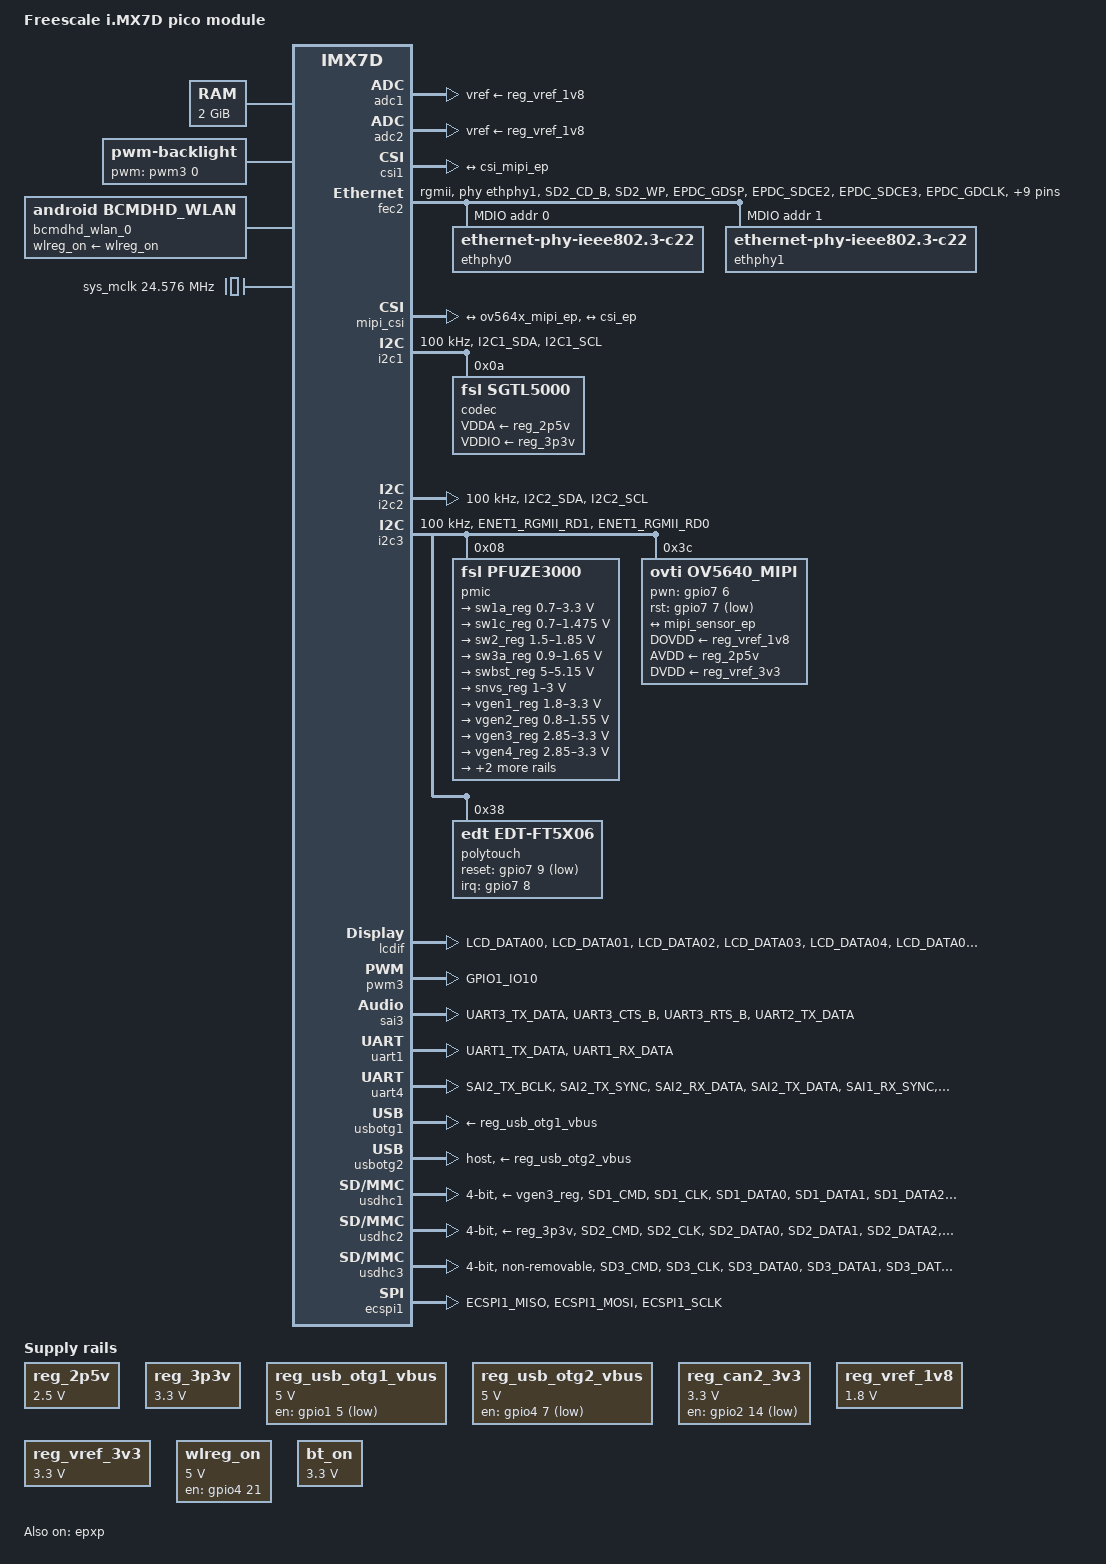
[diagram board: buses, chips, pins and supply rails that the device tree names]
/*
 * Copyright 2016 Technexion Ltd.
 *
 * Author: Wig Cheng  <wig.cheng@technexion.com>
 *     Richard Hu <richard.hu@technexion.com>
 *     Tapani Utriainen <tapani@technexion.com>
 *
 * This program is free software; you can redistribute it and/or modify
 * it under the terms of the GNU General Public License version 2 as
 * published by the Free Software Foundation.
 *
 */

/dts-v1/;

#include <dt-bindings/input/input.h>
#include "imx7d.dtsi"

/ {
	model = "Freescale i.MX7D pico module";
	compatible = "fsl,imx7d-sdb", "fsl,imx7d";

	memory {
		reg = <0x80000000 0x80000000>;
	};

	backlight {
		compatible = "pwm-backlight";
		pwms = <&pwm3 0 5000000>;
		brightness-levels = <0 4 8 16 32 64 128 255>;
		default-brightness-level = <6>;
		status = "okay";
	};

	bcmdhd_wlan_0: bcmdhd_wlan@0 {
		compatible = "android,bcmdhd_wlan";
		wlreg_on-supply = <&wlreg_on>;
	};

	pxp_v4l2_out {
		compatible = "fsl,imx7d-pxp-v4l2", "fsl,imx6sx-pxp-v4l2", "fsl,imx6sl-pxp-v4l2";
		status = "okay";
	};

	regulators {
		compatible = "simple-bus";
		#address-cells = <1>;
		#size-cells = <0>;

		reg_2p5v: 2p5v {
			compatible = "regulator-fixed";
			regulator-name = "2P5V";
			regulator-min-microvolt = <2500000>;
			regulator-max-microvolt = <2500000>;
			regulator-always-on;
		};

		reg_3p3v: 3p3v {
			compatible = "regulator-fixed";
			regulator-name = "3P3V";
			regulator-min-microvolt = <3300000>;
			regulator-max-microvolt = <3300000>;
			regulator-always-on;
		};

		reg_usb_otg1_vbus: regulator@0 {
			compatible = "regulator-fixed";
			reg = <0>;
			regulator-name = "usb_otg1_vbus";
			regulator-min-microvolt = <5000000>;
			regulator-max-microvolt = <5000000>;
			gpio = <&gpio1 5 GPIO_ACTIVE_HIGH>;
		};

		reg_usb_otg2_vbus: regulator@1 {
			compatible = "regulator-fixed";
			reg = <1>;
			regulator-name = "usb_otg2_vbus";
			regulator-min-microvolt = <5000000>;
			regulator-max-microvolt = <5000000>;
			gpio = <&gpio4 7 GPIO_ACTIVE_HIGH>;
		};

		reg_can2_3v3: regulator@4 {
			compatible = "regulator-fixed";
			reg = <4>;
			regulator-name = "can2-3v3";
			regulator-min-microvolt = <3300000>;
			regulator-max-microvolt = <3300000>;
			gpio = <&gpio2 14 GPIO_ACTIVE_LOW>;
		};

		reg_vref_1v8: regulator@5 {
			compatible = "regulator-fixed";
			reg = <5>;
			regulator-name = "vref-1v8";
			regulator-min-microvolt = <1800000>;
			regulator-max-microvolt = <1800000>;
		};

		reg_vref_3v3: regulator@6 {
			compatible = "regulator-fixed";
			regulator-name = "vref-3v3";
			regulator-min-microvolt = <3300000>;
			regulator-max-microvolt = <3300000>;
		};

		wlreg_on: fixedregulator@100 {
			compatible = "regulator-fixed";
			regulator-min-microvolt = <5000000>;
			regulator-max-microvolt = <5000000>;
			regulator-name = "wlreg_on";
			gpio = <&gpio4 21 GPIO_ACTIVE_HIGH>;
			enable-active-high;
		};

		bt_on: bt_on {
			compatible = "regulator-fixed";
			regulator-min-microvolt = <3300000>;
			regulator-max-microvolt = <3300000>;
			regulator-name = "bt_on";
			regulator-boot-on;
		};

	};

	clocks {
		sys_mclk: clock {
			compatible = "fixed-clock";
			#clock-cells = <0>;
			clock-frequency = <24576000>;
		};
	};

	sound {
		compatible = "fsl,pico-imx7-sgtl5000",
				"fsl,imx-audio-sgtl5000";
		model = "audio-sgtl5000";
		ssi-controller = <&sai3>;
		audio-codec = <&codec>;
		audio-routing =
			"LINE_IN", "Line In Jack",
			"MIC_IN", "Mic Jack",
			"Mic Jack", "Mic Bias",
			"Headphone Jack", "HP_OUT";
		mux-int-port = <3>;
		mux-ext-port = <3>;
		fsl,no-audmux;
	};
};

&adc1 {
	vref-supply = <&reg_vref_1v8>;
	status = "okay";
};

&adc2 {
	vref-supply = <&reg_vref_1v8>;
	status = "okay";
};

&clks {
	assigned-clocks = <&clks IMX7D_PLL_AUDIO_POST_DIV>;
	assigned-clock-rates = <884736000>;
};

&cpu0 {
	arm-supply = <&sw1a_reg>;
};

&clks {
	assigned-clocks = <&clks IMX7D_PLL_AUDIO_POST_DIV>;
	assigned-clock-rates = <884736000>;
};

&csi1 {
	csi-mux-mipi = <&gpr 0x14 4>;
	status = "okay";

	port {
		csi_ep: endpoint {
			remote-endpoint = <&csi_mipi_ep>;
		};
	};
};

&epxp {
	status = "okay";
};

&fec2 {
	pinctrl-names = "default";
	pinctrl-0 = <&pinctrl_enet2>;
	pinctrl-assert-gpios = <&gpio2 31 GPIO_ACTIVE_HIGH>;
	assigned-clocks = <&clks IMX7D_ENET2_TIME_ROOT_SRC>,
			  <&clks IMX7D_ENET2_TIME_ROOT_CLK>;
	assigned-clock-parents = <&clks IMX7D_PLL_ENET_MAIN_100M_CLK>;
	assigned-clock-rates = <0>, <1000000000>;
	phy-mode = "rgmii";
	phy-handle = <&ethphy1>;
	fsl,magic-packet;
	status = "okay";

	mdio {
		#address-cells = <1>;
		#size-cells = <0>;

		ethphy0: ethernet-phy@0 {
			compatible = "ethernet-phy-ieee802.3-c22";
			reg = <0>;
		};

		ethphy1: ethernet-phy@1 {
			compatible = "ethernet-phy-ieee802.3-c22";
			reg = <1>;
		};
	};
};

&mipi_csi {
	clock-frequency = <24576000>;
	status = "okay";
	port {
		mipi_sensor_ep: endpoint1 {
			remote-endpoint = <&ov564x_mipi_ep>;
			data-lanes = <2>;
			csis-hs-settle = <13>;
			csis-wclk;
		};

		csi_mipi_ep: endpoint2 {
			remote-endpoint = <&csi_ep>;
		};
	};
};

&i2c1 {
	clock-frequency = <100000>;
	pinctrl-names = "default";
	pinctrl-0 = <&pinctrl_i2c1>;
	status = "okay";

	codec: sgtl5000@0a {
		compatible = "fsl,sgtl5000";
		reg = <0x0a>;
		VDDA-supply = <&reg_2p5v>;
		VDDIO-supply = <&reg_3p3v>;
		clocks = <&clks IMX7D_AUDIO_MCLK_ROOT_CLK>;
	};


};

&i2c2 {
	clock-frequency = <100000>;
	pinctrl-names = "default";
	pinctrl-0 = <&pinctrl_i2c2>;
	status = "okay";
};

&i2c3 {
	clock-frequency = <100000>;
	pinctrl-names = "default";
	pinctrl-0 = <&pinctrl_i2c3>;
	status = "okay";

	pmic: pfuze3000@08 {
		compatible = "fsl,pfuze3000";
		reg = <0x08>;

		regulators {
			sw1a_reg: sw1a {
				regulator-min-microvolt = <700000>;
				regulator-max-microvolt = <3300000>;
				regulator-boot-on;
				regulator-always-on;
				regulator-ramp-delay = <6250>;
			};

			/* use sw1c_reg to align with pfuze100/pfuze200 */
			sw1c_reg: sw1b {
				regulator-min-microvolt = <700000>;
				regulator-max-microvolt = <1475000>;
				regulator-boot-on;
				regulator-always-on;
				regulator-ramp-delay = <6250>;
			};

			sw2_reg: sw2 {
				regulator-min-microvolt = <1500000>;
				regulator-max-microvolt = <1850000>;
				regulator-boot-on;
				regulator-always-on;
			};

			sw3a_reg: sw3 {
				regulator-min-microvolt = <900000>;
				regulator-max-microvolt = <1650000>;
				regulator-boot-on;
				regulator-always-on;
			};

			swbst_reg: swbst {
				regulator-min-microvolt = <5000000>;
				regulator-max-microvolt = <5150000>;
			};

			snvs_reg: vsnvs {
				regulator-min-microvolt = <1000000>;
				regulator-max-microvolt = <3000000>;
				regulator-boot-on;
				regulator-always-on;
			};

			vref_reg: vrefddr {
				regulator-boot-on;
				regulator-always-on;
			};

			vgen1_reg: vldo1 {
				regulator-min-microvolt = <1800000>;
				regulator-max-microvolt = <3300000>;
				regulator-always-on;
			};

			vgen2_reg: vldo2 {
				regulator-min-microvolt = <800000>;
				regulator-max-microvolt = <1550000>;
				regulator-always-on;
			};

			vgen3_reg: vccsd {
				regulator-min-microvolt = <2850000>;
				regulator-max-microvolt = <3300000>;
				regulator-always-on;
			};

			vgen4_reg: v33 {
				regulator-min-microvolt = <2850000>;
				regulator-max-microvolt = <3300000>;
				regulator-always-on;
			};

			vgen5_reg: vldo3 {
				regulator-min-microvolt = <1800000>;
				regulator-max-microvolt = <3300000>;
				regulator-always-on;
			};

			vgen6_reg: vldo4 {
				regulator-min-microvolt = <1800000>;
				regulator-max-microvolt = <3300000>;
				regulator-always-on;
			};
		};
	};

	ov5640_mipi: ov5640_mipi@3c {
		compatible = "ovti,ov5640_mipi";
		reg = <0x3c>;
		pinctrl-names = "default";
		pinctrl-0 = <&pinctrl_mipi_csi>;
		clocks = <&clks IMX7D_CLK_DUMMY>;
		clock-names = "csi_mclk";
		DOVDD-supply = <&reg_vref_1v8>;
		AVDD-supply = <&reg_2p5v>;
		DVDD-supply = <&reg_vref_3v3>;
		pwn-gpios = <&gpio7 6 GPIO_ACTIVE_HIGH>;
		rst-gpios = <&gpio7 7 GPIO_ACTIVE_LOW>;
		csi_id = <0>;
		mclk = <24576000>;
		mclk_source = <0>;
		port {
			ov564x_mipi_ep: endpoint {
			remote-endpoint = <&mipi_sensor_ep>;
		    };
		};
	};

	/* no wake up pin */
	polytouch: edt-ft5x06@38 {
		compatible = "edt,edt-ft5x06";
		reg = <0x38>;
		pinctrl-names = "default";
		pinctrl-0 = <&pinctrl_edt_ft5x06>;
		interrupt-parent = <&gpio7>;
		interrupts = <8 0>;
		reset-gpios = <&gpio7 9 GPIO_ACTIVE_LOW>;
		linux,wakeup;
	};

};


&iomuxc {
	pinctrl-names = "default";
	pinctrl-0 = <&pinctrl_hog_1>;

	imx7d-pico {
		pinctrl_hog_1: hoggrp-1 {
			fsl,pins = <
				MX7D_PAD_ECSPI2_SS0__GPIO4_IO23	 0x80000000  /* bt reg on */
				MX7D_PAD_ENET1_RGMII_TD0__GPIO7_IO6 0x5d /*mipi csi power down*/
				MX7D_PAD_SD3_DATA7__GPIO6_IO9	 0x59 /* cpu module sd cd pin */
				MX7D_PAD_GPIO1_IO03__CCM_CLKO2	 0x7d /* wifi LPO 32K Hz clock */
				MX7D_PAD_GPIO1_IO02__CCM_CLKO1	 0x7d /* mipi csi main clock */
				MX7D_PAD_GPIO1_IO07__GPIO1_IO7	 0x59 /* pmic sd_vel pin*/
				MX7D_PAD_GPIO1_IO00__WDOD1_WDOG_B	0x74
			>;
		};

		pinctrl_ecspi3_cs: ecspi3_cs_grp {
			fsl,pins = <
				MX7D_PAD_SD2_CD_B__GPIO5_IO9	0x80000000
			>;
		};

		pinctrl_ecspi3: ecspi3grp {
			fsl,pins = <
				MX7D_PAD_SAI2_TX_SYNC__ECSPI3_MISO	0x2
				MX7D_PAD_SAI2_TX_BCLK__ECSPI3_MOSI	0x2
				MX7D_PAD_SAI2_RX_DATA__ECSPI3_SCLK	0x2
			>;
		};

		pinctrl_enet1: enet1grp {
			fsl,pins = <
				MX7D_PAD_GPIO1_IO10__ENET1_MDIO		0x3
				MX7D_PAD_GPIO1_IO11__ENET1_MDC		0x3
				MX7D_PAD_ENET1_RGMII_TXC__ENET1_RGMII_TXC	0x1
				MX7D_PAD_ENET1_RGMII_TD0__ENET1_RGMII_TD0	0x1
				MX7D_PAD_ENET1_RGMII_TD1__ENET1_RGMII_TD1	0x1
				MX7D_PAD_ENET1_RGMII_TD2__ENET1_RGMII_TD2	0x1
				MX7D_PAD_ENET1_RGMII_TD3__ENET1_RGMII_TD3	0x1
				MX7D_PAD_ENET1_RGMII_TX_CTL__ENET1_RGMII_TX_CTL	0x1
				MX7D_PAD_ENET1_RGMII_RXC__ENET1_RGMII_RXC	0x1
				MX7D_PAD_ENET1_RGMII_RD0__ENET1_RGMII_RD0	0x1
				MX7D_PAD_ENET1_RGMII_RD1__ENET1_RGMII_RD1	0x1
				MX7D_PAD_ENET1_RGMII_RD2__ENET1_RGMII_RD2	0x1
				MX7D_PAD_ENET1_RGMII_RD3__ENET1_RGMII_RD3	0x1
				MX7D_PAD_ENET1_RGMII_RX_CTL__ENET1_RGMII_RX_CTL	0x1
			>;
		};

		pinctrl_enet2: enet2grp {
			fsl,pins = <
				MX7D_PAD_SD2_CD_B__ENET2_MDIO			0x3
				MX7D_PAD_SD2_WP__ENET2_MDC			0x3
				MX7D_PAD_EPDC_GDSP__ENET2_RGMII_TXC		0x1
				MX7D_PAD_EPDC_SDCE2__ENET2_RGMII_TD0		0x1
				MX7D_PAD_EPDC_SDCE3__ENET2_RGMII_TD1		0x1
				MX7D_PAD_EPDC_GDCLK__ENET2_RGMII_TD2		0x1
				MX7D_PAD_EPDC_GDOE__ENET2_RGMII_TD3		0x1
				MX7D_PAD_EPDC_GDRL__ENET2_RGMII_TX_CTL		0x1
				MX7D_PAD_EPDC_SDCE1__ENET2_RGMII_RXC		0x1
				MX7D_PAD_EPDC_SDCLK__ENET2_RGMII_RD0		0x1
				MX7D_PAD_EPDC_SDLE__ENET2_RGMII_RD1		0x1
				MX7D_PAD_EPDC_SDOE__ENET2_RGMII_RD2		0x1
				MX7D_PAD_EPDC_SDSHR__ENET2_RGMII_RD3		0x1
				MX7D_PAD_EPDC_SDCE0__ENET2_RGMII_RX_CTL		0x1
				MX7D_PAD_EPDC_PWR_STAT__GPIO2_IO31		0x59
			>;
		};

		pinctrl_i2c1: i2c1grp {

			fsl,pins = <
				MX7D_PAD_I2C1_SDA__I2C1_SDA	0x4000007f
				MX7D_PAD_I2C1_SCL__I2C1_SCL	0x4000007f
			>;
		};

		pinctrl_i2c2: i2c2grp {
			fsl,pins = <
				MX7D_PAD_I2C2_SDA__I2C2_SDA	0x4000007f
				MX7D_PAD_I2C2_SCL__I2C2_SCL	0x4000007f
			>;
		};

		pinctrl_i2c3: i2c3grp {
			fsl,pins = <
				MX7D_PAD_ENET1_RGMII_RD1__I2C3_SDA          0x4000007f
				MX7D_PAD_ENET1_RGMII_RD0__I2C3_SCL          0x4000007f
			>;
		};

		pinctrl_i2c4: i2c4grp {
			fsl,pins = <
				MX7D_PAD_SAI1_RX_BCLK__I2C4_SDA		0x4000007f
				MX7D_PAD_SAI1_RX_SYNC__I2C4_SCL		0x4000007f
			>;
		};

		pinctrl_lcdif_dat: lcdifdatgrp {
			fsl,pins = <
				MX7D_PAD_LCD_DATA00__LCD_DATA0	0x79
				MX7D_PAD_LCD_DATA01__LCD_DATA1	0x79
				MX7D_PAD_LCD_DATA02__LCD_DATA2	0x79
				MX7D_PAD_LCD_DATA03__LCD_DATA3	0x79
				MX7D_PAD_LCD_DATA04__LCD_DATA4	0x79
				MX7D_PAD_LCD_DATA05__LCD_DATA5	0x79
				MX7D_PAD_LCD_DATA06__LCD_DATA6	0x79
				MX7D_PAD_LCD_DATA07__LCD_DATA7	0x79
				MX7D_PAD_LCD_DATA08__LCD_DATA8	0x79
				MX7D_PAD_LCD_DATA09__LCD_DATA9	0x79
				MX7D_PAD_LCD_DATA10__LCD_DATA10	0x79
				MX7D_PAD_LCD_DATA11__LCD_DATA11	0x79
				MX7D_PAD_LCD_DATA12__LCD_DATA12	0x79
				MX7D_PAD_LCD_DATA13__LCD_DATA13	0x79
				MX7D_PAD_LCD_DATA14__LCD_DATA14	0x79
				MX7D_PAD_LCD_DATA15__LCD_DATA15	0x79
				MX7D_PAD_LCD_DATA16__LCD_DATA16	0x79
				MX7D_PAD_LCD_DATA17__LCD_DATA17	0x79
				MX7D_PAD_LCD_DATA18__LCD_DATA18	0x79
				MX7D_PAD_LCD_DATA19__LCD_DATA19	0x79
				MX7D_PAD_LCD_DATA20__LCD_DATA20	0x79
				MX7D_PAD_LCD_DATA21__LCD_DATA21	0x79
				MX7D_PAD_LCD_DATA22__LCD_DATA22	0x79
				MX7D_PAD_LCD_DATA23__LCD_DATA23	0x79
			>;
		};

		pinctrl_lcdif_ctrl: lcdifctrlgrp {
			fsl,pins = <
				MX7D_PAD_LCD_CLK__LCD_CLK	0x79
				MX7D_PAD_LCD_ENABLE__LCD_ENABLE	0x79
				MX7D_PAD_LCD_VSYNC__LCD_VSYNC	0x79
				MX7D_PAD_LCD_HSYNC__LCD_HSYNC	0x79
				MX7D_PAD_LCD_RESET__LCD_RESET	0x79
			>;
		};

		pinctrl_sai3: sai3grp {
			fsl,pins = <
				MX7D_PAD_UART3_TX_DATA__SAI3_TX_BCLK    0x1f
				MX7D_PAD_UART3_CTS_B__SAI3_TX_SYNC      0x1f
				MX7D_PAD_UART3_RTS_B__SAI3_TX_DATA0     0x30
				MX7D_PAD_UART2_TX_DATA__SAI3_RX_DATA0   0x1f
			>;
		};

		pinctrl_spi1: spi1grp {
			fsl,pins = <
				MX7D_PAD_GPIO1_IO09__GPIO1_IO9	0x59
				MX7D_PAD_GPIO1_IO12__GPIO1_IO12	0x59
				MX7D_PAD_GPIO1_IO13__GPIO1_IO13	0x59
			>;
		};

		pinctrl_uart1: uart1grp {
			fsl,pins = <
				MX7D_PAD_UART1_TX_DATA__UART1_DCE_TX 0x79
				MX7D_PAD_UART1_RX_DATA__UART1_DCE_RX 0x79
			>;
		};

		pinctrl_uart4: uart4grp {
			fsl,pins = <
				MX7D_PAD_SAI2_TX_BCLK__UART4_DCE_TX  0x79
				MX7D_PAD_SAI2_TX_SYNC__UART4_DCE_RX  0x79
				MX7D_PAD_SAI2_RX_DATA__UART4_DCE_CTS 0x79
				MX7D_PAD_SAI2_TX_DATA__UART4_DCE_RTS 0x79
			>;
		};

		pinctrl_usbotg2_pwr_1: usbotg2-1 {
			fsl,pins = <
				MX7D_PAD_UART3_CTS_B__GPIO4_IO7	0x14
			>;
		};

		pinctrl_usdhc1: usdhc1grp {
			fsl,pins = <
				MX7D_PAD_SD1_CMD__SD1_CMD		0x59
				MX7D_PAD_SD1_CLK__SD1_CLK		0x19
				MX7D_PAD_SD1_DATA0__SD1_DATA0		0x59
				MX7D_PAD_SD1_DATA1__SD1_DATA1		0x59
				MX7D_PAD_SD1_DATA2__SD1_DATA2		0x59
				MX7D_PAD_SD1_DATA3__SD1_DATA3		0x59
			>;
		};

		pinctrl_usdhc1_100mhz: usdhc1grp_100mhz {
			fsl,pins = <
				MX7D_PAD_SD1_CMD__SD1_CMD		0x5a
				MX7D_PAD_SD1_CLK__SD1_CLK		0x1a
				MX7D_PAD_SD1_DATA0__SD1_DATA0		0x5a
				MX7D_PAD_SD1_DATA1__SD1_DATA1		0x5a
				MX7D_PAD_SD1_DATA2__SD1_DATA2		0x5a
				MX7D_PAD_SD1_DATA3__SD1_DATA3		0x5a
			>;
		};

		pinctrl_usdhc1_200mhz: usdhc1grp_200mhz {
			fsl,pins = <
				MX7D_PAD_SD1_CMD__SD1_CMD		0x5b
				MX7D_PAD_SD1_CLK__SD1_CLK		0x1b
				MX7D_PAD_SD1_DATA0__SD1_DATA0		0x5b
				MX7D_PAD_SD1_DATA1__SD1_DATA1		0x5b
				MX7D_PAD_SD1_DATA2__SD1_DATA2		0x5b
				MX7D_PAD_SD1_DATA3__SD1_DATA3		0x5b
			>;
		};

		pinctrl_usdhc2: usdhc2grp {
			fsl,pins = <
				MX7D_PAD_SD2_CMD__SD2_CMD       0x59
				MX7D_PAD_SD2_CLK__SD2_CLK       0x19
				MX7D_PAD_SD2_DATA0__SD2_DATA0   0x59
				MX7D_PAD_SD2_DATA1__SD2_DATA1   0x59
				MX7D_PAD_SD2_DATA2__SD2_DATA2   0x59
				MX7D_PAD_SD2_DATA3__SD2_DATA3   0x59
				MX7D_PAD_ECSPI2_MOSI__GPIO4_IO21	0x59 /* WL_REG_ON */
			>;
		};

		pinctrl_usdhc2_100mhz: usdhc2grp_100mhz {
			fsl,pins = <
				MX7D_PAD_SD2_CMD__SD2_CMD       0x5a
				MX7D_PAD_SD2_CLK__SD2_CLK       0x1a
				MX7D_PAD_SD2_DATA0__SD2_DATA0   0x5a
				MX7D_PAD_SD2_DATA1__SD2_DATA1   0x5a
				MX7D_PAD_SD2_DATA2__SD2_DATA2   0x5a
				MX7D_PAD_SD2_DATA3__SD2_DATA3   0x5a
			>;
		};

		pinctrl_usdhc2_200mhz: usdhc2grp_200mhz {
			fsl,pins = <
				MX7D_PAD_SD2_CMD__SD2_CMD       0x5b
				MX7D_PAD_SD2_CLK__SD2_CLK       0x1b
				MX7D_PAD_SD2_DATA0__SD2_DATA0   0x5b
				MX7D_PAD_SD2_DATA1__SD2_DATA1   0x5b
				MX7D_PAD_SD2_DATA2__SD2_DATA2   0x5b
				MX7D_PAD_SD2_DATA3__SD2_DATA3   0x5b
			>;
		};

		pinctrl_usdhc3: usdhc3grp {
			fsl,pins = <
				MX7D_PAD_SD3_CMD__SD3_CMD		0x59
				MX7D_PAD_SD3_CLK__SD3_CLK		0x19
				MX7D_PAD_SD3_DATA0__SD3_DATA0		0x59
				MX7D_PAD_SD3_DATA1__SD3_DATA1		0x59
				MX7D_PAD_SD3_DATA2__SD3_DATA2		0x59
				MX7D_PAD_SD3_DATA3__SD3_DATA3		0x59
			>;
		};

		pinctrl_usdhc3_100mhz: usdhc3grp_100mhz {
			fsl,pins = <
				MX7D_PAD_SD3_CMD__SD3_CMD		0x5a
				MX7D_PAD_SD3_CLK__SD3_CLK		0x1a
				MX7D_PAD_SD3_DATA0__SD3_DATA0		0x5a
				MX7D_PAD_SD3_DATA1__SD3_DATA1		0x5a
				MX7D_PAD_SD3_DATA2__SD3_DATA2		0x5a
				MX7D_PAD_SD3_DATA3__SD3_DATA3		0x5a
			>;
		};

		pinctrl_usdhc3_200mhz: usdhc3grp_200mhz {
			fsl,pins = <
				MX7D_PAD_SD3_CMD__SD3_CMD		0x5b
				MX7D_PAD_SD3_CLK__SD3_CLK		0x1b
				MX7D_PAD_SD3_DATA0__SD3_DATA0		0x5b
				MX7D_PAD_SD3_DATA1__SD3_DATA1		0x5b
				MX7D_PAD_SD3_DATA2__SD3_DATA2		0x5b
				MX7D_PAD_SD3_DATA3__SD3_DATA3		0x5b
			>;
		};

		pinctrl_mipi_csi: mipicsigrp-1 {
			fsl,pins = <
				MX7D_PAD_ENET1_RGMII_TD1__GPIO7_IO7 0x15 /*mipi csi reset*/
			>;
		};

		pinctrl_pwm3: pwm3grp {
			fsl,pins = <
				MX7D_PAD_GPIO1_IO10__PWM3_OUT   0x7f
			>;
		};

		pinctrl_wdog: wdoggrp {
			fsl,pins = <
				MX7D_PAD_GPIO1_IO00__WDOD1_WDOG_B 0x74
			>;
		};

		pinctrl_wifi_ctrl: wifi_ctrlgrp {
			fsl,pins = <
				MX7D_PAD_SAI1_RX_BCLK__GPIO6_IO17       0x59 /* wifi-reg-on */
				MX7D_PAD_SAI1_RX_DATA__GPIO6_IO12       0x59 /* wifi-host-wake */
			>;
		};

		pinctrl_bt_ctrl: bt_ctrlgrp {
			fsl,pins = <
				MX7D_PAD_SAI1_RX_SYNC__GPIO6_IO16       0x55 /* bluetooth-reg-on */
				MX7D_PAD_SAI1_TX_SYNC__GPIO6_IO14       0x55 /* bluetooth-wake */
				MX7D_PAD_ENET1_RX_CLK__GPIO7_IO13       0x55 /* bluetooth-host-wake */
			>;
		};

		pinctrl_ecspi1_cs: ecspi1_cs_grp {
			fsl,pins = <
				MX7D_PAD_ECSPI1_SS0__GPIO4_IO19			0x80000000 /*cs0*/
				MX7D_PAD_UART2_RX_DATA__GPIO4_IO2		0x80000000 /*cs1*/
			>;
		};

		pinctrl_ecspi1: ecspi1grp {
			fsl,pins = <
				MX7D_PAD_ECSPI1_MISO__ECSPI1_MISO		0x2
				MX7D_PAD_ECSPI1_MOSI__ECSPI1_MOSI		0x2
				MX7D_PAD_ECSPI1_SCLK__ECSPI1_SCLK		0x2
			>;
		};

		pinctrl_edt_ft5x06: edt-ft5x06grp {
			fsl,pins = <
				MX7D_PAD_ENET1_RGMII_TD2__GPIO7_IO8	 0x59  /* Interrupt */
				MX7D_PAD_ENET1_RGMII_TD3__GPIO7_IO9	 0x59 /* Reset */
			>;
		};
	};
};

&lcdif {
	pinctrl-names = "default";
	pinctrl-0 = <&pinctrl_lcdif_dat
		     &pinctrl_lcdif_ctrl>;
	lcd-supply = <&reg_vref_3v3>;
	display = <&display0>;
	status = "okay";

	display0: display {
		bits-per-pixel = <24>;
		bus-width = <24>;

		display-timings {
			native-mode = <&timing0>;
			timing0: timing0 {
				clock-frequency = <33260000>;
				hactive = <800>;
				vactive = <480>;
				hback-porch = <46>;
				hfront-porch = <210>;
				vback-porch = <23>;
				vfront-porch = <22>;
				hsync-len = <1>;
				vsync-len = <1>;
				hsync-active = <0>;
				vsync-active = <0>;
				de-active = <1>;
				pixelclk-active = <0>;
				interlaced =  <0>;
			};
		};
	};
};

/*&pcie {
	pinctrl-names = "default";
	reset-gpio = <&gpio_spi 1 GPIO_ACTIVE_LOW>;
	disable-gpio = <&gpio_spi 0 GPIO_ACTIVE_LOW>;
	status = "okay";
};*/

&pwm3 {
	pinctrl-names = "default";
	pinctrl-0 = <&pinctrl_pwm3>;
	status = "okay";
};

&sai3 {
	pinctrl-names = "default";
	pinctrl-0 = <&pinctrl_sai3>;
	assigned-clocks = <&clks IMX7D_SAI3_ROOT_SRC>,
			  <&clks IMX7D_SAI3_ROOT_CLK>;
	assigned-clock-parents = <&clks IMX7D_PLL_AUDIO_POST_DIV>;
	assigned-clock-rates = <0>, <24576000>;
	status = "okay";
};

&sdma {
	status = "okay";
};

&iomuxc_lpsr {
	pinctrl-names = "default";
	pinctrl-0 = <&pinctrl_hog_2>;

	imx7d-sdb {
		pinctrl_hog_2: hoggrp-2 {
			fsl,pins = <
				MX7D_PAD_GPIO1_IO05__GPIO1_IO5	  0x14
			>;
		};
	};
};

&uart1 {
	pinctrl-names = "default";
	pinctrl-0 = <&pinctrl_uart1>;
	assigned-clocks = <&clks IMX7D_UART1_ROOT_SRC>;
	assigned-clock-parents = <&clks IMX7D_OSC_24M_CLK>;
	status = "okay";
};

&uart4 { /* Bluetooth */
	pinctrl-names = "default";
	pinctrl-0 = <&pinctrl_uart4 &pinctrl_bt_ctrl>;
	assigned-clocks = <&clks IMX7D_UART4_ROOT_SRC>;
	assigned-clock-parents = <&clks IMX7D_PLL_SYS_MAIN_240M_CLK>;
	fsl,uart-has-rtscts;
	status = "okay";
};


&usbotg1 {
	vbus-supply = <&reg_usb_otg1_vbus>;
	srp-disable;
	hnp-disable;
	adp-disable;
	status = "okay";
};

&usbotg2 {
	vbus-supply = <&reg_usb_otg2_vbus>;
	dr_mode = "host";
	status = "okay";
};

&usdhc1 {
	pinctrl-names = "default", "state_100mhz", "state_200mhz";
	pinctrl-0 = <&pinctrl_usdhc1>;
	pinctrl-1 = <&pinctrl_usdhc1_100mhz>;
	pinctrl-2 = <&pinctrl_usdhc1_200mhz>;
	bus-width = <4>;
	tuning-step = <2>;
	vmmc-supply = <&vgen3_reg>;
	enable-sdio-wakeup;
	no-1-8-v;
	keep-power-in-suspend;
	status = "okay";
};

&usdhc2 {
	pinctrl-names = "default", "state_100mhz", "state_200mhz";
	pinctrl-0 = <&pinctrl_usdhc2>;
	bus-width = <4>;
	vmmc-supply = <&reg_3p3v>;
	enable-sdio-wakeup;
	keep-power-in-suspend;
	tuning-step = <2>;
	wifi-host;
	status = "okay";
};

&usdhc3 {
	pinctrl-names = "default", "state_100mhz", "state_200mhz";
	pinctrl-0 = <&pinctrl_usdhc3>;
	pinctrl-1 = <&pinctrl_usdhc3_100mhz>;
	pinctrl-2 = <&pinctrl_usdhc3_200mhz>;
	cd-gpios = <&gpio6 9 0>;
	assigned-clocks = <&clks IMX7D_USDHC3_ROOT_CLK>;
	assigned-clock-rates = <400000000>;
	bus-width = <4>;
	non-removable;
	tuning-step = <2>;
	enable-sdio-wakeup;
	no-1-8-v;
	keep-power-in-suspend;
	status = "okay";
};

&wdog1 {
	pinctrl-names = "default";
	pinctrl-0 = <&pinctrl_wdog>;
	fsl,wdog_b;
};


&ecspi1 {
	fsl,spi-num-chipselects = <0>;
	cs-gpios = <&gpio4 19 GPIO_ACTIVE_LOW>;
	pinctrl-names = "default";
	pinctrl-0 = <&pinctrl_ecspi1>;
	status = "okay";
};
